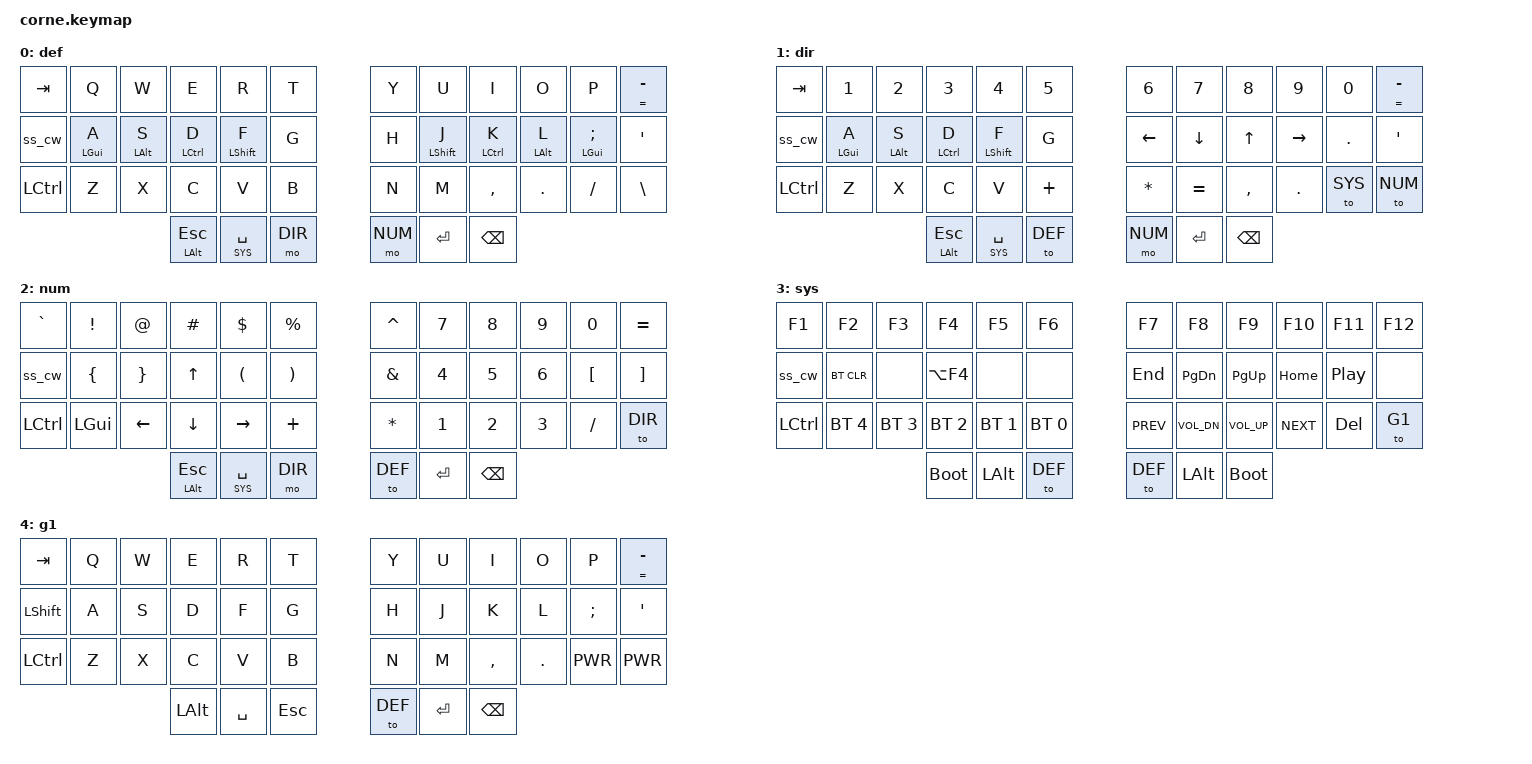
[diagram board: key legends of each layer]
#include <behaviors.dtsi>
#include <dt-bindings/zmk/keys.h>
#include <dt-bindings/zmk/bt.h>

#include "../zmk-nodefree-config/helper.h"
#include "../zmk-nodefree-config/keypos_def/keypos_42keys.h"


/* layer and key shortcuts */

#define ___ &trans

#define DEF 0  // layer shortcuts, must match order in which they are defined below
#define DIR 1
#define NUM 2
#define SYS 3
#define G1 4

/* custom behaviors */

// homerow mods
ZMK_BEHAVIOR(hrm, hold_tap,
    flavor = "balanced";
    tapping-term-ms = <280>;
    quick-tap-ms = <125>;
    global-quick-tap;
    bindings = <&kp>, <&kp>;
)

// tap: sticky shift | double tap: capsword
ZMK_BEHAVIOR(ss_cw, tap_dance,
    tapping-term-ms = <200>;
    bindings = <&sk LSHFT>, <&caps_word>;
)

// change esc to tab when holding alt
// so that tab+esc key becomes alt+tab
ZMK_BEHAVIOR(esc_tab, mod_morph,
    bindings = <&kp ESC>, <&kp LA(TAB)>;
    mods = <(MOD_LALT|MOD_RALT|MOD_LCTL|MOD_RCTL)>;
    keep-mods = <(MOD_LALT|MOD_RALT|MOD_LCTL|MOD_RCTL)>;
)

// tap: backspace | shift + tap: delete | hold: num layer
//ZMK_BEHAVIOR(bs_del_num, mod_morph,
//    bindings = <&lt NUM BSPC>, <&kp DEL>;
//    mods = <(MOD_LSFT|MOD_RSFT)>;
// )
//&bs_del_num

// windows sleep macro
//ZMK_BEHAVIOR(win_sleep, macro,
//    wait-ms = <100>;
//    tap-ms = <5>;
//    bindings = <&kp LG(X) &kp U &kp S>;
//)

// euro sign
//ZMK_UNICODE_SINGLE(euro_sign, N2, N0, A, C)  // €

// replace a/o/u/s with German umlauts when NAV and NUM are held jointly
//ZMK_CONDITIONAL_LAYER(NAV NUM, GER)

// combos

//#undef COMBO_TERM
//#define COMBO_TERM 40  // timeout of 40ms (default is 30ms if omitted)
//ZMK_COMBO(combo_sleep,  &win_sleep, RT3 RT4, NAV)  // custom sleep macro, only active on NAV layer
//ZMK_COMBO(combo_copy,   &kp LC(C),  LB2 LB3, ALL)  // Ctrl + C, active on all layers
//ZMK_COMBO(combo_paste,  &kp LC(V),  LB1 LB2, ALL)  // Ctrl + V, active on all layers

/* keymap */


ZMK_LAYER(def,
     // ╭─────────────┬─────────────┬─────────────┬─────────────┬─────────────┬─────────────╮   ╭─────────────┬─────────────┬─────────────┬─────────────┬─────────────┬─────────────╮
          &kp TAB       &kp Q         &kp W         &kp E         &kp R         &kp T             &kp Y         &kp U         &kp I         &kp O          &kp P        &hrm EQUAL MINUS
     // ├─────────────┼─────────────┼─────────────┼─────────────┼─────────────┼─────────────┤   ├─────────────┼─────────────┼─────────────┼─────────────┼─────────────┼─────────────┤
          &ss_cw        &hrm LGUI A   &hrm LALT S   &hrm LCTRL D  &hrm LSHFT F  &kp G             &kp H         &hrm LSHFT J  &hrm LCTRL K  &hrm LALT L  &hrm LGUI SEMI &kp SQT
     // ├─────────────┼─────────────┼─────────────┼─────────────┼─────────────┼─────────────┤   ├─────────────┼─────────────┼─────────────┼─────────────┼─────────────┼─────────────┤
          &kp LCTRL     &kp Z         &kp X         &kp C         &kp V         &kp B             &kp N         &kp M         &kp COMMA     &kp PERIOD    &kp SLASH     &kp BACKSLASH     
     // ╰─────────────┼─────────────┼─────────────┼─────────────┼─────────────┼─────────────┤   ├─────────────┼─────────────┼─────────────┼─────────────┼─────────────┼─────────────┤
                                                    &hrm LALT ESC  &lt SYS SPACE &mo DIR          &mo NUM       &kp RET       &kp BSPC    
     //                                           ╰─────────────┴─────────────┴─────────────╯   ╰─────────────┴─────────────┴─────────────╯
)

ZMK_LAYER(dir,
     // ╭─────────────┬─────────────┬─────────────┬─────────────┬─────────────┬─────────────╮   ╭─────────────┬─────────────┬─────────────┬─────────────┬─────────────┬─────────────╮
          &kp TAB       &kp N1        &kp N2        &kp N3        &kp N4        &kp N5            &kp N6        &kp N7        &kp N8        &kp N9        &kp N0        &hrm EQUAL MINUS
     // ├─────────────┼─────────────┼─────────────┼─────────────┼─────────────┼─────────────┤   ├─────────────┼─────────────┼─────────────┼─────────────┼─────────────┼─────────────┤
          &ss_cw        &hrm LGUI A   &hrm LALT S   &hrm LCTRL D  &hrm LSHFT F  &kp G             &kp LEFT      &kp DOWN      &kp UP        &kp RIGHT     &kp PERIOD    &kp SQT 
     // ├─────────────┼─────────────┼─────────────┼─────────────┼─────────────┼─────────────┤   ├─────────────┼─────────────┼─────────────┼─────────────┼─────────────┼─────────────┤
          &kp LCTRL     &kp Z         &kp X         &kp C         &kp V         &kp PLUS          &kp ASTRK     &kp EQUAL    &kp COMMA     &kp PERIOD    &to SYS      &to NUM      
     // ╰─────────────┼─────────────┼─────────────┼─────────────┼─────────────┼─────────────┤   ├─────────────┼─────────────┼─────────────┼─────────────┼─────────────┼─────────────┤
                                                    &hrm LALT ESC  &lt SYS SPACE &to DEF          &mo NUM       &kp RET       &kp BSPC    
     //                                           ╰─────────────┴─────────────┴─────────────╯   ╰─────────────┴─────────────┴─────────────╯
)

ZMK_LAYER(num,
     // ╭─────────────┬─────────────┬─────────────┬─────────────┬─────────────┬─────────────╮   ╭─────────────┬─────────────┬─────────────┬─────────────┬─────────────┬─────────────╮
          &kp GRAVE     &kp EXCL      &kp AT        &kp POUND     &kp DLLR      &kp PRCNT         &kp CARET     &kp N7        &kp N8        &kp N9        &kp N0        &kp EQUAL
     // ├─────────────┼─────────────┼─────────────┼─────────────┼─────────────┼─────────────┤   ├─────────────┼─────────────┼─────────────┼─────────────┼─────────────┼─────────────┤
          &ss_cw        &kp LBRC      &kp RBRC      &kp UP         &kp LPAR     &kp RPAR          &kp AMPS      &kp N4        &kp N5        &kp N6        &kp LBKT      &kp RBKT  
     // ├─────────────┼─────────────┼─────────────┼─────────────┼─────────────┼─────────────┤   ├─────────────┼─────────────┼─────────────┼─────────────┼─────────────┼─────────────┤
          &kp LCTRL     &kp LGUI      &kp LEFT      &kp DOWN      &kp RIGHT     &kp PLUS          &kp ASTRK     &kp N1        &kp N2        &kp N3        &kp SLASH     &to DIR    
     // ╰─────────────┼─────────────┼─────────────┼─────────────┼─────────────┼─────────────┤   ├─────────────┼─────────────┼─────────────┼─────────────┼─────────────┼─────────────┤
                                                    &hrm LALT ESC &lt SYS SPACE &mo DIR           &to DEF       &kp RET      &kp BSPC    
     //                                           ╰─────────────┴─────────────┴─────────────╯   ╰─────────────┴─────────────┴─────────────╯
)

ZMK_LAYER(sys,
     // ╭─────────────┬─────────────┬─────────────┬─────────────┬─────────────┬─────────────╮   ╭─────────────┬─────────────┬─────────────┬─────────────┬─────────────┬─────────────╮
          &kp F1        &kp F2        &kp F3        &kp F4        &kp F5        &kp F6            &kp F7        &kp F8        &kp F9        &kp F10       &kp F11       &kp F12      
     // ├─────────────┼─────────────┼─────────────┼─────────────┼─────────────┼─────────────┤   ├─────────────┼─────────────┼─────────────┼─────────────┼─────────────┼─────────────┤
          &ss_cw        &bt BT_CLR    &none         &kp LA(F4)    &none         &none             &kp END       &kp PG_DN   &kp PG_UP     &kp HOME      &kp C_PP      &none     
     // ├─────────────┼─────────────┼─────────────┼─────────────┼─────────────┼─────────────┤   ├─────────────┼─────────────┼─────────────┼─────────────┼─────────────┼─────────────┤
          &kp LCTRL     &bt BT_SEL 4  &bt BT_SEL 3  &bt BT_SEL 2  &bt BT_SEL 1  &bt BT_SEL 0      &kp C_PREV   &kp C_VOL_DN   &kp C_VOL_UP  &kp C_NEXT  &kp DEL       &to G1
     // ╰─────────────┼─────────────┼─────────────┼─────────────┼─────────────┼─────────────┤   ├─────────────┼─────────────┼─────────────┼─────────────┼─────────────┼─────────────┤
                                                    &bootloader   &kp LALT      &to DEF            &to DEF       &kp LALT     &bootloader   
     //                                           ╰─────────────┴─────────────┴─────────────╯   ╰─────────────┴─────────────┴─────────────╯
)

ZMK_LAYER(g1,
     // ╭─────────────┬─────────────┬─────────────┬─────────────┬─────────────┬─────────────╮   ╭─────────────┬─────────────┬─────────────┬─────────────┬─────────────┬─────────────╮
          &kp TAB       &kp Q         &kp W         &kp E         &kp R         &kp T             &kp Y         &kp U         &kp I         &kp O          &kp P        &hrm EQUAL MINUS
     // ├─────────────┼─────────────┼─────────────┼─────────────┼─────────────┼─────────────┤   ├─────────────┼─────────────┼─────────────┼─────────────┼─────────────┼─────────────┤
          &kp LSHFT     &kp A         &kp S         &kp D         &kp F         &kp G             &kp H         &kp J         &kp K         &kp L          &kp SEMI     &kp SQT
     // ├─────────────┼─────────────┼─────────────┼─────────────┼─────────────┼─────────────┤   ├─────────────┼─────────────┼─────────────┼─────────────┼─────────────┼─────────────┤
          &kp LCTRL     &kp Z         &kp X         &kp C         &kp V         &kp B             &kp N         &kp M         &kp COMMA     &kp PERIOD    &kp K_PWR     &kp C_PWR   
     // ╰─────────────┼─────────────┼─────────────┼─────────────┼─────────────┼─────────────┤   ├─────────────┼─────────────┼─────────────┼─────────────┼─────────────┼─────────────┤
                                                    &kp LALT      &kp SPACE    &kp ESC           &to DEF        &kp RET       &kp BSPC    
     //                                           ╰─────────────┴─────────────┴─────────────╯   ╰─────────────┴─────────────┴─────────────╯
)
